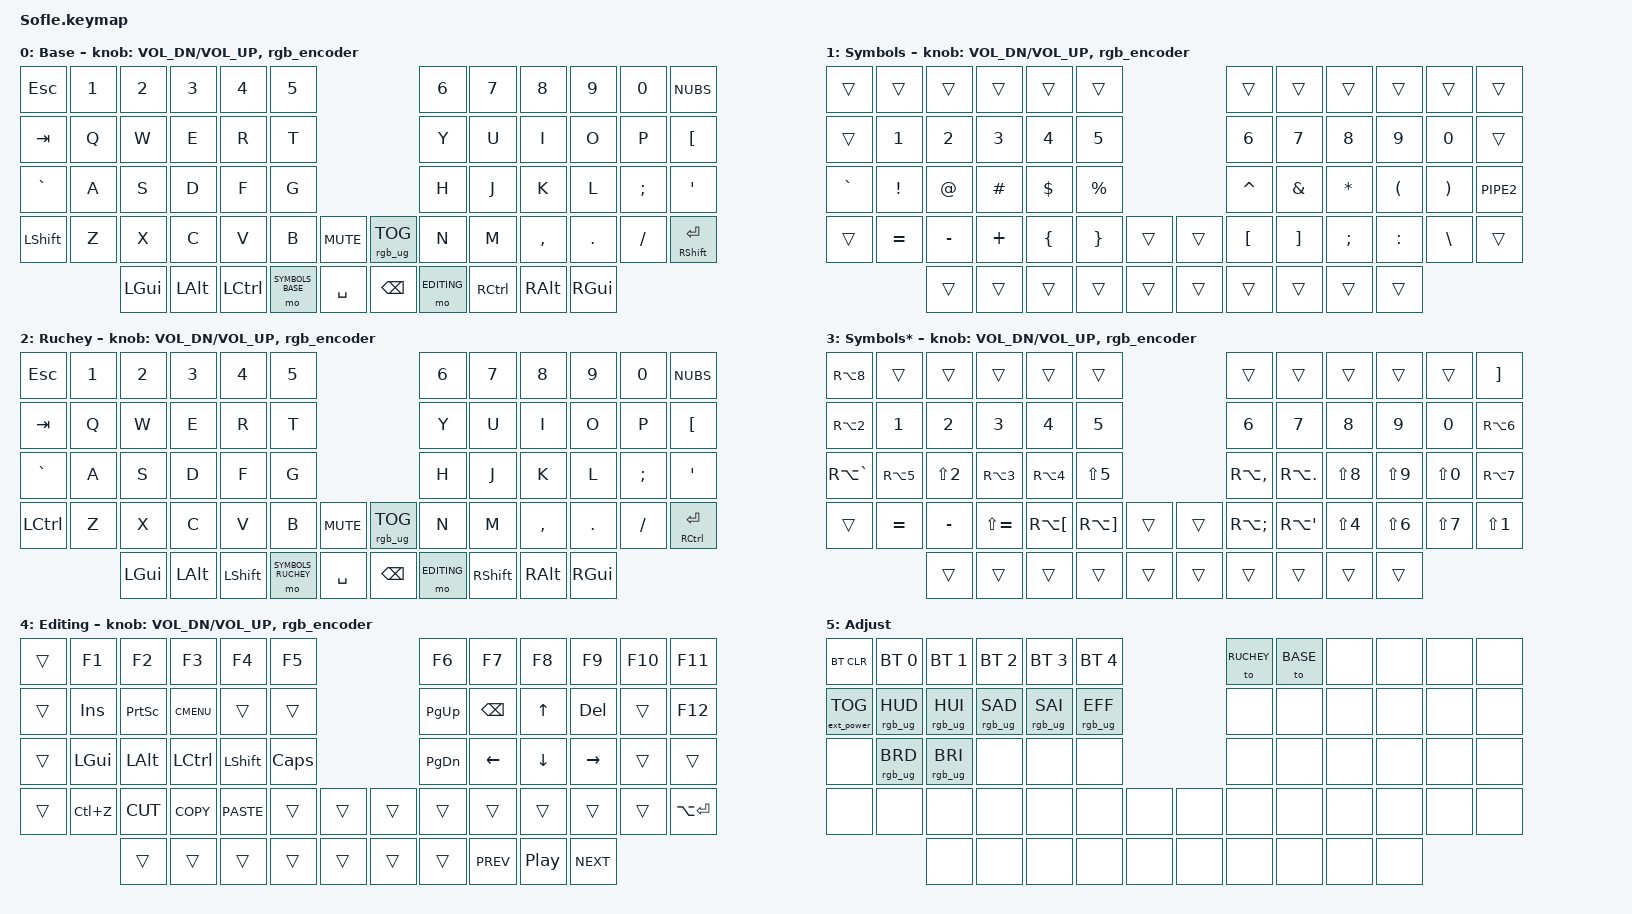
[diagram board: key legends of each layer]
/*
 * Copyright (c) 2020 The ZMK Contributors
 *
 * SPDX-License-Identifier: MIT
 */

#include <behaviors.dtsi>
#include <dt-bindings/zmk/keys.h>
#include <dt-bindings/zmk/bt.h>
#include <dt-bindings/zmk/rgb.h>
#include <dt-bindings/zmk/ext_power.h>
#include <dt-bindings/zmk/outputs.h>

#define BASE 0
#define SYMBOLS_BASE 1
#define RUCHEY 2
#define SYMBOLS_RUCHEY 3
#define EDITING 4
#define ADJUST 5

/ {

   // Activate ADJUST layer by pressing raise and lower
    conditional_layers {
        compatible = "zmk,conditional-layers";
        adjust_layer {
            if-layers = <SYMBOLS_BASE EDITING>;
            then-layer = <ADJUST>;
        };
        adjust_layer_legacy {
            if-layers = <SYMBOLS_RUCHEY EDITING>;
            then-layer = <ADJUST>;
        };
    };

    behaviors {
        rgb_encoder: rgb_encoder {
            compatible = "zmk,behavior-sensor-rotate";
            #sensor-binding-cells = <0>;
            bindings = <&rgb_ug RGB_EFF>, <&rgb_ug RGB_EFR>;
        };
    };

    keymap {
        compatible = "zmk,keymap";

        base_layer {
            display-name = "Base";
            bindings = <
&kp ESC   &kp N1 &kp N2   &kp N3   &kp N4    &kp N5                                       &kp N6      &kp N7    &kp N8    &kp N9   &kp N0   &kp NUBS
&kp TAB   &kp Q  &kp W    &kp E    &kp R     &kp T                                        &kp Y       &kp U     &kp I     &kp O    &kp P    &kp LBKT
&kp GRAVE &kp A  &kp S    &kp D    &kp F     &kp G                                        &kp H       &kp J     &kp K     &kp L    &kp SEMI &kp SQT
&kp LSHFT &kp Z  &kp X    &kp C    &kp V     &kp B            &kp C_MUTE  &rgb_ug RGB_TOG &kp N       &kp M     &kp COMMA &kp DOT  &kp FSLH &mt RSHFT RET
                 &kp LGUI &kp LALT &kp LCTRL &mo SYMBOLS_BASE &kp SPACE   &kp BSPC        &mo EDITING &kp RCTRL &kp RALT  &kp RGUI
            >;
            sensor-bindings = <&inc_dec_kp C_VOL_DN C_VOL_UP &rgb_encoder>;
        };

        symbols_base_layer {
            display-name = "Symbols";
            bindings = <
&trans    &trans    &trans    &trans   &trans   &trans                   &trans    &trans   &trans    &trans    &trans   &trans
&trans    &kp N1    &kp N2    &kp N3   &kp N4   &kp N5                   &kp N6    &kp N7   &kp N8    &kp N9    &kp N0   &trans
&kp GRAVE &kp EXCL  &kp AT    &kp HASH &kp DLLR &kp PRCNT                &kp CARET &kp AMPS &kp ASTRK &kp LPAR  &kp RPAR &kp PIPE2
&trans    &kp EQUAL &kp MINUS &kp PLUS &kp LBRC &kp RBRC  &trans  &trans &kp LBKT  &kp RBKT &kp SEMI  &kp COLON &kp BSLH &trans
                    &trans    &trans   &trans   &trans    &trans  &trans &trans    &trans   &trans    &trans
            >;
            sensor-bindings = <&inc_dec_kp C_VOL_DN C_VOL_UP &rgb_encoder>;
        };

        ruchey_layer {
            display-name = "Ruchey";
            bindings = <
&kp ESC   &kp N1 &kp N2   &kp N3   &kp N4    &kp N5                                         &kp N6      &kp N7    &kp N8    &kp N9   &kp N0   &kp NUBS
&kp TAB   &kp Q  &kp W    &kp E    &kp R     &kp T                                          &kp Y       &kp U     &kp I     &kp O    &kp P    &kp LBKT
&kp GRAVE &kp A  &kp S    &kp D    &kp F     &kp G                                          &kp H       &kp J     &kp K     &kp L    &kp SEMI &kp SQT
&kp LCTRL &kp Z  &kp X    &kp C    &kp V     &kp B              &kp C_MUTE  &rgb_ug RGB_TOG &kp N       &kp M     &kp COMMA &kp DOT  &kp FSLH &mt RCTRL RET
                 &kp LGUI &kp LALT &kp LSHFT &mo SYMBOLS_RUCHEY &kp SPACE   &kp BSPC        &mo EDITING &kp RSHFT &kp RALT  &kp RGUI
            >;
            sensor-bindings = <&inc_dec_kp C_VOL_DN C_VOL_UP &rgb_encoder>;
        };

        symbols_ruchey_layer {
            display-name = "Symbols*";
            bindings = <
&kp RA(N8)    &trans     &trans     &trans        &trans       &trans                      &trans        &trans      &trans     &trans     &trans     &kp RBKT
&kp RA(N2)    &kp N1     &kp N2     &kp N3        &kp N4       &kp N5                      &kp N6        &kp N7      &kp N8     &kp N9     &kp N0     &kp RA(N6)
&kp RA(GRAVE) &kp RA(N5) &kp LS(N2) &kp RA(N3)    &kp RA(N4)   &kp LS(N5)                  &kp RA(COMMA) &kp RA(DOT) &kp LS(N8) &kp LS(N9) &kp LS(N0) &kp RA(N7)
&trans        &kp EQUAL  &kp MINUS  &kp LS(EQUAL) &kp RA(LBKT) &kp RA(RBKT) &trans  &trans &kp RA(SEMI)  &kp RA(SQT) &kp LS(N4) &kp LS(N6) &kp LS(N7) &kp LS(N1)
                         &trans     &trans        &trans       &trans       &trans  &trans &trans        &trans      &trans     &trans
            >;
            sensor-bindings = <&inc_dec_kp C_VOL_DN C_VOL_UP &rgb_encoder>;
        };

        editing_layer {
            display-name = "Editing";
            bindings = <
&trans &kp F1    &kp F2    &kp F3      &kp F4      &kp F5                  &kp F6    &kp F7     &kp F8   &kp F9     &kp F10 &kp F11
&trans &kp INS   &kp PSCRN &kp K_CMENU &trans      &trans                  &kp PG_UP &kp BSPC   &kp UP   &kp DEL    &trans  &kp F12
&trans &kp LGUI  &kp LALT  &kp LCTRL   &kp LSHFT   &kp CLCK                &kp PG_DN &kp LEFT   &kp DOWN &kp RIGHT  &trans  &trans
&trans &kp LC(Z) &kp K_CUT &kp K_COPY  &kp K_PASTE &trans   &trans  &trans &trans    &trans     &trans   &trans     &trans  &kp LA(RET)
                 &trans    &trans      &trans      &trans   &trans  &trans &trans    &kp C_PREV &kp C_PP &kp C_NEXT 
            >;
            sensor-bindings = <&inc_dec_kp C_VOL_DN C_VOL_UP &rgb_encoder>;
        };

        adjust_layer {
            display-name = "Adjust";
            bindings = <
&bt BT_CLR        &bt BT_SEL 0    &bt BT_SEL 1    &bt BT_SEL 2    &bt BT_SEL 3    &bt BT_SEL 4                   &to RUCHEY &to BASE &none &none &none &none
&ext_power EP_TOG &rgb_ug RGB_HUD &rgb_ug RGB_HUI &rgb_ug RGB_SAD &rgb_ug RGB_SAI &rgb_ug RGB_EFF                &none      &none    &none &none &none &none
&none             &rgb_ug RGB_BRD &rgb_ug RGB_BRI &none           &none           &none                          &none      &none    &none &none &none &none
&none             &none           &none           &none           &none           &none            &none  &none  &none      &none    &none &none &none &none
                                  &none           &none           &none           &none            &none  &none  &none      &none    &none &none
            >;
        };

        extra3 {
            status = "reserved";
        };

        extra4 {
            status = "reserved";
        };
    };
};
